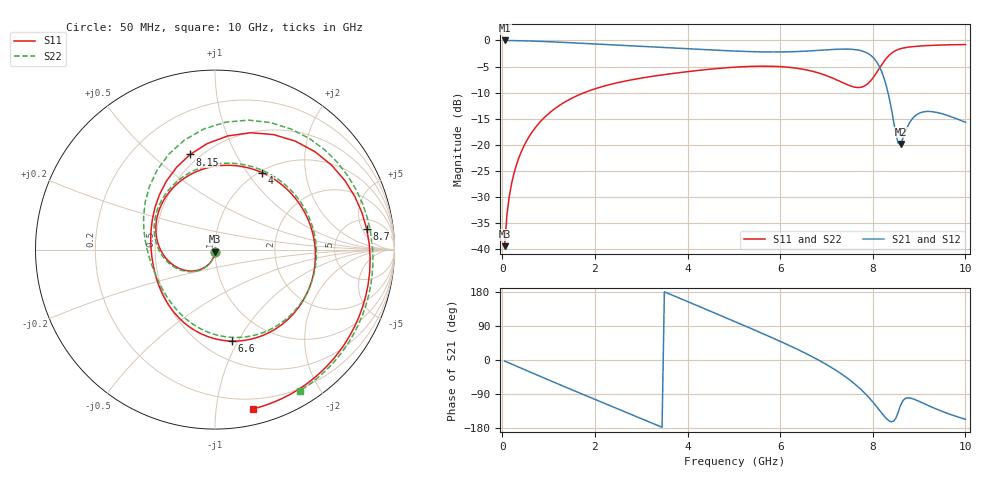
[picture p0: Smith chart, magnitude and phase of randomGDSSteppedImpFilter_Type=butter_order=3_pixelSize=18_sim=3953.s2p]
! freq	dB(S11)	phase(S11)	dB(S12)	phase(S12)
!  dB(S21)	phase(S21)	dB(S22)	phase(S22)
!S-par simulation data
#  GHz  S  DB  R 50
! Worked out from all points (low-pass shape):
!   200 points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, 50 MHz to 10 GHz, reference 50 ohm
!   highest |S21| = -0.01 dB at 50 MHz (marker M1); lowest = -19.8 dB at 8.6 GHz (marker M2)
!   |S21| within 3 dB of the highest: start of sweep to 7.975 GHz
!   lowest |S11| = -39.4 dB at 50 MHz (marker M3), VSWR 1.02, Z = 49.9 - j1.07 ohm
!   |S11| at or under -10 dB: start of sweep to 1.77 GHz
!   |S22| runs from -39.4 to -0.7 dB; largest |S21 - S12| = 0
!   S11 on the Smith chart (normalised r, x): 50 MHz: 1.00, -0.02; 4 GHz: 1.02, +1.18; 6.6 GHz: 0.68, -0.94; 8.15 GHz: 0.44, +0.67; 8.7 GHz: 7.29, +6.19; 10 GHz: 0.12, -1.26
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0.05  -39.38 -92.3  -0.01 -2.7  -0.01 -2.7  -39.37 -92.1
0.1  -33.39 -95.1  -0.01 -5.4  -0.01 -5.4  -33.39 -94.9
0.2  -27.43 -100.8  -0.03 -10.7  -0.03 -10.7  -27.43 -100.5
0.5  -19.64 -117.4  -0.08 -26.5  -0.08 -26.5  -19.64 -116.5
1.15  -12.96 -152.2  -0.30 -60.4  -0.30 -60.4  -12.96 -150.0
1.75  -10.07 176.2  -0.56 -91.2  -0.56 -91.2  -10.07 179.8
2.65  -7.79 129.2  -0.98 -136.8  -0.98 -136.8  -7.79 135.4
3.4  -6.66 90.0  -1.31 -175.0  -1.31 -175.0  -6.66 98.5
4  -5.98 58.6  -1.59 154.3  -1.59 154.3  -5.97 68.7
5.05  -5.10 4.1  -2.04 99.9  -2.04 99.9  -5.09 15.8
5.8  -4.94 -35.0  -2.22 60.3  -2.22 60.3  -4.93 -23.1
6.6  -5.71 -79.5  -2.03 14.5  -2.03 14.5  -5.69 -68.4
6.7  -5.91 -85.7  -1.98 8.2  -1.98 8.2  -5.89 -74.7
7.25  -7.67 -125.0  -1.69 -30.8  -1.69 -30.8  -7.63 -114.1
7.7  -9.02 -173.7  -1.87 -72.6  -1.87 -72.6  -8.88 -159.6
7.95  -7.78 144.9  -2.82 -103.5  -2.82 -103.5  -7.67 163.6
8.15  -5.23 104.7  -5.13 -133.6  -5.13 -133.6  -5.23 126.1
8.35  -2.87 63.1  -10.80 -160.4  -10.80 -160.4  -2.94 85.2
8.6  -1.58 20.7  -19.80 -119.4  -19.80 -119.4  -1.66 42.2
8.7  -1.38 7.8  -17.57 -101.7  -17.57 -101.7  -1.44 28.8
9.25  -0.96 -39.2  -13.61 -123.0  -13.61 -123.0  -0.95 -20.2
10  -0.80 -76.8  -15.66 -156.4  -15.66 -156.4  -0.75 -58.9
